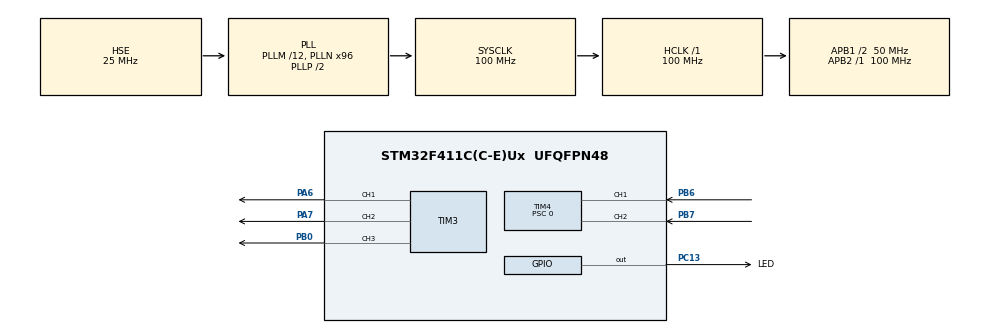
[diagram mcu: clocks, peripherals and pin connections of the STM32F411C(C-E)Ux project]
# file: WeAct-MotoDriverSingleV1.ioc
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Mcu.Family=STM32F4
Mcu.Name=STM32F411C(C-E)Ux
Mcu.Package=UFQFPN48
NVIC.PriorityGroup=NVIC_PRIORITYGROUP_4
NVIC.TIM1_TRG_COM_TIM11_IRQn=true\:6\:0\:true\:false\:true\:true\:true\:true
NVIC.TIM4_IRQn=true\:5\:0\:true\:false\:true\:true\:true\:true
PA13.Mode=Serial_Wire
PA13.Signal=SYS_JTMS-SWDIO
PA14.Mode=Serial_Wire
PA14.Signal=SYS_JTCK-SWCLK
PA6.Signal=S_TIM3_CH1
PA7.Signal=S_TIM3_CH2
PB0.Signal=S_TIM3_CH3
PB6.Signal=S_TIM4_CH1
PB7.Signal=S_TIM4_CH2
PC13-ANTI_TAMP.GPIO_Label=LED
PC13-ANTI_TAMP.Signal=GPIO_Output
PH0\ -\ OSC_IN.Mode=HSE-External-Oscillator
PH0\ -\ OSC_IN.Signal=RCC_OSC_IN
PH1\ -\ OSC_OUT.Mode=HSE-External-Oscillator
PH1\ -\ OSC_OUT.Signal=RCC_OSC_OUT
ProjectManager.HeapSize=0x200
ProjectManager.StackSize=0x400
ProjectManager.TargetToolchain=MDK-ARM V5.32
RCC.48MHZClocksFreq_Value=50000000
RCC.AHBFreq_Value=100000000
RCC.APB1CLKDivider=RCC_HCLK_DIV2
RCC.APB1Freq_Value=50000000
RCC.APB1TimFreq_Value=100000000
RCC.APB2Freq_Value=100000000
RCC.APB2TimFreq_Value=100000000
RCC.CortexFreq_Value=100000000
RCC.HCLKFreq_Value=100000000
RCC.HSE_VALUE=25000000
RCC.HSI_VALUE=16000000
RCC.LSE_VALUE=32768
RCC.PLLM=12
RCC.PLLN=96
RCC.PLLSourceVirtual=RCC_PLLSOURCE_HSE
RCC.SYSCLKFreq_VALUE=100000000
RCC.SYSCLKSource=RCC_SYSCLKSOURCE_PLLCLK
RCC.VCOOutputFreq_Value=200000000
SH.S_TIM3_CH1.0=TIM3_CH1,PWM Generation1 CH1
SH.S_TIM3_CH2.0=TIM3_CH2,PWM Generation2 CH2
SH.S_TIM3_CH3.0=TIM3_CH3,PWM Generation3 CH3
SH.S_TIM4_CH1.0=TIM4_CH1,Encoder_Interface
SH.S_TIM4_CH2.0=TIM4_CH2,Encoder_Interface
TIM3.Channel-PWM\ Generation1\ CH1=TIM_CHANNEL_1
TIM3.Channel-PWM\ Generation2\ CH2=TIM_CHANNEL_2
TIM3.Channel-PWM\ Generation3\ CH3=TIM_CHANNEL_3
TIM4.EncoderMode=TIM_ENCODERMODE_TI12
TIM4.IC1Filter=4
TIM4.IC2Filter=4
TIM4.Prescaler=0
VP_TIM11_VS_ClockSourceINT.Mode=Enable_Timer
board=custom

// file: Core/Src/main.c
/* USER CODE BEGIN Header */
/**
 ******************************************************************************
 * @file           : main.c
 * @brief          : Main program body
 ******************************************************************************
 * @attention
 *
 * Copyright (c) 2022 STMicroelectronics.
 * All rights reserved.
 *
 * This software is licensed under terms that can be found in the LICENSE file
 * in the root directory of this software component.
 * If no LICENSE file comes with this software, it is provided AS-IS.
 *
 ******************************************************************************
 */

/*---------------------------------------
- WeAct Studio Official Link
- taobao: weactstudio.taobao.com
- aliexpress: weactstudio.aliexpress.com
- github: github.com/WeActTC
- gitee: gitee.com/WeAct-TC
- blog: www.weact-tc.cn
---------------------------------------*/

// Motor IN1   PA6
// Motor IN2   PA7
// Motor ISET  PB0
// Motor Encoder CHA   PB6
// Motor Encoder CHB   PB7

/* USER CODE END Header */
#include "main.h"
#include "tim.h"
#include "gpio.h"

/* USER CODE BEGIN Includes */
#include "motor_run.h"

#include "motor.h"
#include "encoder.h"
#include "pid.h"
/* USER CODE END Includes */

/* USER CODE BEGIN PV */
int32_t motor_speed_test;
uint8_t motor_flag;
/* USER CODE END PV */

void SystemClock_Config(void);

/* USER CODE BEGIN 0 */
void HAL_TIM_PeriodElapsedCallback(TIM_HandleTypeDef *htim)
{
  if (htim->Instance == TIM4)
  {
    encoder_handle();
  }
  else if (htim->Instance == TIM11)
  {
    motor_run_handle();
  }
}
/* USER CODE END 0 */

int main(void)
{

  /* MCU Configuration--------------------------------------------------------*/

  /* Reset of all peripherals, Initializes the Flash interface and the Systick. */
  HAL_Init();

  /* Configure the system clock */
  SystemClock_Config();

  /* Initialize all configured peripherals */
  MX_GPIO_Init();
  MX_TIM3_Init();
  MX_TIM4_Init();
  MX_TIM11_Init();
/* USER CODE BEGIN 2 */
#if 0
  encoder_base_init();
  motor_base_init();

  motor_setCurrent(2000);
  motor_setSpeed(500);
#else
  motor_run_base_init();

  motor_setCurrent(2000);

  motor_run_setMode(MOTOR_RUN_MODE_SPEED);
  motor_run_setSpeedModeSpeed(100);
  HAL_Delay(1000);
#endif

  /* USER CODE END 2 */

  /* Infinite loop */
  while (1)
  {

    /* USER CODE BEGIN 3 */
    HAL_GPIO_TogglePin(LED_GPIO_Port, LED_Pin);
    HAL_Delay(49);

#if 1
    if (motor_speed_test > 1350)
    {
      motor_flag = 1;
      HAL_Delay(1000);
    }
    if (motor_speed_test < -1350)
    {
      motor_flag = 0;
      HAL_Delay(1000);
    }

    if (motor_flag)
      motor_speed_test -= 50;
    else
      motor_speed_test += 50;

    motor_run_setSpeedModeSpeed(motor_speed_test);

    if (motor_speed_test == 0)
      HAL_Delay(500);
#endif
  }
  /* USER CODE END 3 */
}

void SystemClock_Config(void)
{
  RCC_OscInitTypeDef RCC_OscInitStruct = {0};
  RCC_ClkInitTypeDef RCC_ClkInitStruct = {0};

  /** Configure the main internal regulator output voltage
   */
  __HAL_RCC_PWR_CLK_ENABLE();
  __HAL_PWR_VOLTAGESCALING_CONFIG(PWR_REGULATOR_VOLTAGE_SCALE1);

  /** Initializes the RCC Oscillators according to the specified parameters
   * in the RCC_OscInitTypeDef structure.
   */
  RCC_OscInitStruct.OscillatorType = RCC_OSCILLATORTYPE_HSE;
  RCC_OscInitStruct.HSEState = RCC_HSE_ON;
  RCC_OscInitStruct.PLL.PLLState = RCC_PLL_ON;
  RCC_OscInitStruct.PLL.PLLSource = RCC_PLLSOURCE_HSE;
  RCC_OscInitStruct.PLL.PLLM = 12;
  RCC_OscInitStruct.PLL.PLLN = 96;
  RCC_OscInitStruct.PLL.PLLP = RCC_PLLP_DIV2;
  RCC_OscInitStruct.PLL.PLLQ = 4;
  if (HAL_RCC_OscConfig(&RCC_OscInitStruct) != HAL_OK)
  {
    Error_Handler();
  }

  /** Initializes the CPU, AHB and APB buses clocks
   */
  RCC_ClkInitStruct.ClockType = RCC_CLOCKTYPE_HCLK | RCC_CLOCKTYPE_SYSCLK | RCC_CLOCKTYPE_PCLK1 | RCC_CLOCKTYPE_PCLK2;
  RCC_ClkInitStruct.SYSCLKSource = RCC_SYSCLKSOURCE_PLLCLK;
  RCC_ClkInitStruct.AHBCLKDivider = RCC_SYSCLK_DIV1;
  RCC_ClkInitStruct.APB1CLKDivider = RCC_HCLK_DIV2;
  RCC_ClkInitStruct.APB2CLKDivider = RCC_HCLK_DIV1;

  if (HAL_RCC_ClockConfig(&RCC_ClkInitStruct, FLASH_LATENCY_3) != HAL_OK)
  {
    Error_Handler();
  }
}

void Error_Handler(void)
{
  __disable_irq();
  while (1)
  {
  }
}
